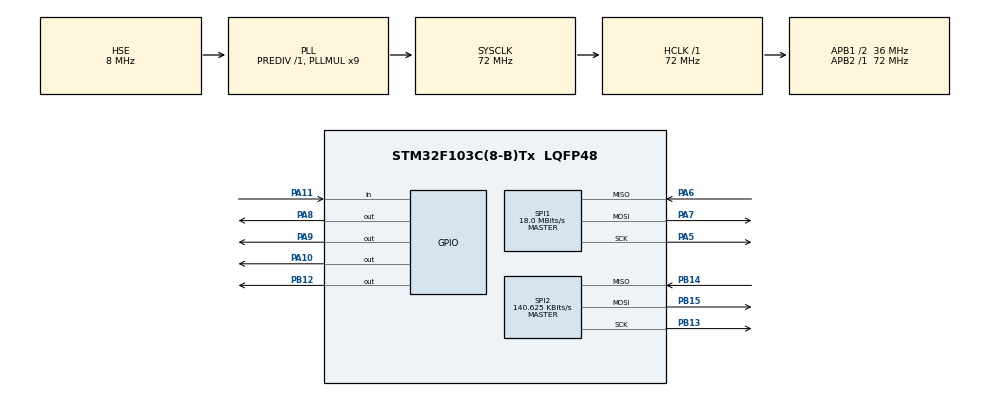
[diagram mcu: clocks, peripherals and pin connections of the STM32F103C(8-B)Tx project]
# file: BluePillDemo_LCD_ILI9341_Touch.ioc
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Dma.Request0=SPI1_TX
Dma.SPI1_TX.0.Direction=DMA_MEMORY_TO_PERIPH
Dma.SPI1_TX.0.Instance=DMA1_Channel3
Dma.SPI1_TX.0.MemDataAlignment=DMA_MDATAALIGN_BYTE
Dma.SPI1_TX.0.MemInc=DMA_MINC_ENABLE
Dma.SPI1_TX.0.Mode=DMA_NORMAL
Dma.SPI1_TX.0.PeriphDataAlignment=DMA_PDATAALIGN_BYTE
Dma.SPI1_TX.0.PeriphInc=DMA_PINC_DISABLE
Dma.SPI1_TX.0.Priority=DMA_PRIORITY_VERY_HIGH
Mcu.Family=STM32F1
Mcu.Name=STM32F103C(8-B)Tx
Mcu.Package=LQFP48
NVIC.DMA1_Channel3_IRQn=true\:0\:0\:false\:false\:true\:false\:true
NVIC.PriorityGroup=NVIC_PRIORITYGROUP_4
PA10.GPIO_Speed=GPIO_SPEED_FREQ_HIGH
PA10.PinState=GPIO_PIN_SET
PA10.Signal=GPIO_Output
PA11.Signal=GPIO_Input
PA13.Mode=Serial_Wire
PA13.Signal=SYS_JTMS-SWDIO
PA14.Mode=Serial_Wire
PA14.Signal=SYS_JTCK-SWCLK
PA5.Mode=Full_Duplex_Master
PA5.Signal=SPI1_SCK
PA6.Mode=Full_Duplex_Master
PA6.Signal=SPI1_MISO
PA7.Mode=Full_Duplex_Master
PA7.Signal=SPI1_MOSI
PA8.GPIO_Speed=GPIO_SPEED_FREQ_HIGH
PA8.Signal=GPIO_Output
PA9.GPIO_Speed=GPIO_SPEED_FREQ_HIGH
PA9.Signal=GPIO_Output
PB12.PinState=GPIO_PIN_SET
PB12.Signal=GPIO_Output
PB13.Mode=Full_Duplex_Master
PB13.Signal=SPI2_SCK
PB14.Mode=Full_Duplex_Master
PB14.Signal=SPI2_MISO
PB15.Mode=Full_Duplex_Master
PB15.Signal=SPI2_MOSI
PD0-OSC_IN.Mode=HSE-External-Oscillator
PD0-OSC_IN.Signal=RCC_OSC_IN
PD1-OSC_OUT.Mode=HSE-External-Oscillator
PD1-OSC_OUT.Signal=RCC_OSC_OUT
ProjectManager.HeapSize=0x200
ProjectManager.StackSize=0x400
ProjectManager.TargetToolchain=STM32CubeIDE
RCC.AHBFreq_Value=72000000
RCC.APB1CLKDivider=RCC_HCLK_DIV2
RCC.APB1Freq_Value=36000000
RCC.APB1TimFreq_Value=72000000
RCC.APB2Freq_Value=72000000
RCC.APB2TimFreq_Value=72000000
RCC.HCLKFreq_Value=72000000
RCC.PLLMUL=RCC_PLL_MUL9
RCC.PLLSourceVirtual=RCC_PLLSOURCE_HSE
RCC.SYSCLKFreq_VALUE=72000000
RCC.SYSCLKSource=RCC_SYSCLKSOURCE_PLLCLK
RCC.USBFreq_Value=72000000
SPI1.BaudRatePrescaler=SPI_BAUDRATEPRESCALER_4
SPI1.CLKPolarity=SPI_POLARITY_HIGH
SPI1.CalculateBaudRate=18.0 MBits/s
SPI1.Direction=SPI_DIRECTION_2LINES
SPI1.Mode=SPI_MODE_MASTER
SPI1.VirtualType=VM_MASTER
SPI2.BaudRatePrescaler=SPI_BAUDRATEPRESCALER_256
SPI2.CalculateBaudRate=140.625 KBits/s
SPI2.Direction=SPI_DIRECTION_2LINES
SPI2.Mode=SPI_MODE_MASTER
SPI2.VirtualType=VM_MASTER
board=custom

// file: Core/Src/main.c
/* USER CODE BEGIN Header */
/**
  ******************************************************************************
  * @file           : main.c
  * @brief          : Main program body
  ******************************************************************************
  * @attention
  *
  * <h2><center>&copy; Copyright (c) 2020 STMicroelectronics.
  * All rights reserved.</center></h2>
  *
  * This software component is licensed by ST under BSD 3-Clause license,
  * the "License"; You may not use this file except in compliance with the
  * License. You may obtain a copy of the License at:
  *                        opensource.org/licenses/BSD-3-Clause
  *
  ******************************************************************************
  */
/* USER CODE END Header */

#include "main.h"

/* USER CODE BEGIN Includes */
#include <stdio.h>
#include "graphics.h"
#include "touch.h"

/* USER CODE END Includes */

SPI_HandleTypeDef hspi1;
SPI_HandleTypeDef hspi2;
DMA_HandleTypeDef hdma_spi1_tx;

void SystemClock_Config(void);
static void MX_GPIO_Init(void);
static void MX_DMA_Init(void);
static void MX_SPI1_Init(void);
static void MX_SPI2_Init(void);

int main(void)
{
  /* USER CODE BEGIN 1 */
  int16_t x;
  int16_t y;

  /* USER CODE END 1 */

  /* MCU Configuration--------------------------------------------------------*/

  /* Reset of all peripherals, Initializes the Flash interface and the Systick. */
  HAL_Init();

  /* Configure the system clock */
  SystemClock_Config();

  /* Initialize all configured peripherals */
  MX_GPIO_Init();
  MX_DMA_Init();
  MX_SPI1_Init();
  MX_SPI2_Init();
  /* USER CODE BEGIN 2 */
  GraphicsInit();
  TouchCalibrate();
  GraphicsClear(BLUE);

  /* USER CODE END 2 */

  /* Infinite loop */
  while (1)
  {

    /* USER CODE BEGIN 3 */

	GraphicsFilledRectangle(50, 200, 50, 15, BLACK);
	if (TouchIsTouched())
	{
	  GraphicsLargeString(50, 200, "Down", YELLOW);
	}
	else
	{
	  GraphicsLargeString(50, 200, "Up", YELLOW);
	}

	if (TouchGetCalibratedPoint(&x, &y))
	{
		char buf[20];
		sprintf(buf, "%hd %hd", x, y);
		GraphicsFilledRectangle(0, 0, 120, 15, BLACK);
		GraphicsLargeString(0, 0, buf, YELLOW);
		GraphicsPixel(x, y, YELLOW);
	}
  }
  /* USER CODE END 3 */
}

void SystemClock_Config(void)
{
  RCC_OscInitTypeDef RCC_OscInitStruct = {0};
  RCC_ClkInitTypeDef RCC_ClkInitStruct = {0};

  /** Initializes the CPU, AHB and APB busses clocks
  */
  RCC_OscInitStruct.OscillatorType = RCC_OSCILLATORTYPE_HSE;
  RCC_OscInitStruct.HSEState = RCC_HSE_ON;
  RCC_OscInitStruct.HSEPredivValue = RCC_HSE_PREDIV_DIV1;
  RCC_OscInitStruct.HSIState = RCC_HSI_ON;
  RCC_OscInitStruct.PLL.PLLState = RCC_PLL_ON;
  RCC_OscInitStruct.PLL.PLLSource = RCC_PLLSOURCE_HSE;
  RCC_OscInitStruct.PLL.PLLMUL = RCC_PLL_MUL9;
  if (HAL_RCC_OscConfig(&RCC_OscInitStruct) != HAL_OK)
  {
    Error_Handler();
  }
  /** Initializes the CPU, AHB and APB busses clocks
  */
  RCC_ClkInitStruct.ClockType = RCC_CLOCKTYPE_HCLK|RCC_CLOCKTYPE_SYSCLK
                              |RCC_CLOCKTYPE_PCLK1|RCC_CLOCKTYPE_PCLK2;
  RCC_ClkInitStruct.SYSCLKSource = RCC_SYSCLKSOURCE_PLLCLK;
  RCC_ClkInitStruct.AHBCLKDivider = RCC_SYSCLK_DIV1;
  RCC_ClkInitStruct.APB1CLKDivider = RCC_HCLK_DIV2;
  RCC_ClkInitStruct.APB2CLKDivider = RCC_HCLK_DIV1;

  if (HAL_RCC_ClockConfig(&RCC_ClkInitStruct, FLASH_LATENCY_2) != HAL_OK)
  {
    Error_Handler();
  }
}

static void MX_SPI1_Init(void)
{

  /* SPI1 parameter configuration*/
  hspi1.Instance = SPI1;
  hspi1.Init.Mode = SPI_MODE_MASTER;
  hspi1.Init.Direction = SPI_DIRECTION_2LINES;
  hspi1.Init.DataSize = SPI_DATASIZE_8BIT;
  hspi1.Init.CLKPolarity = SPI_POLARITY_HIGH;
  hspi1.Init.CLKPhase = SPI_PHASE_1EDGE;
  hspi1.Init.NSS = SPI_NSS_SOFT;
  hspi1.Init.BaudRatePrescaler = SPI_BAUDRATEPRESCALER_4;
  hspi1.Init.FirstBit = SPI_FIRSTBIT_MSB;
  hspi1.Init.TIMode = SPI_TIMODE_DISABLE;
  hspi1.Init.CRCCalculation = SPI_CRCCALCULATION_DISABLE;
  hspi1.Init.CRCPolynomial = 10;
  if (HAL_SPI_Init(&hspi1) != HAL_OK)
  {
    Error_Handler();
  }

}

static void MX_SPI2_Init(void)
{

  /* SPI2 parameter configuration*/
  hspi2.Instance = SPI2;
  hspi2.Init.Mode = SPI_MODE_MASTER;
  hspi2.Init.Direction = SPI_DIRECTION_2LINES;
  hspi2.Init.DataSize = SPI_DATASIZE_8BIT;
  hspi2.Init.CLKPolarity = SPI_POLARITY_LOW;
  hspi2.Init.CLKPhase = SPI_PHASE_1EDGE;
  hspi2.Init.NSS = SPI_NSS_SOFT;
  hspi2.Init.BaudRatePrescaler = SPI_BAUDRATEPRESCALER_256;
  hspi2.Init.FirstBit = SPI_FIRSTBIT_MSB;
  hspi2.Init.TIMode = SPI_TIMODE_DISABLE;
  hspi2.Init.CRCCalculation = SPI_CRCCALCULATION_DISABLE;
  hspi2.Init.CRCPolynomial = 10;
  if (HAL_SPI_Init(&hspi2) != HAL_OK)
  {
    Error_Handler();
  }

}

static void MX_DMA_Init(void)
{

  /* DMA controller clock enable */
  __HAL_RCC_DMA1_CLK_ENABLE();

  /* DMA interrupt init */
  /* DMA1_Channel3_IRQn interrupt configuration */
  HAL_NVIC_SetPriority(DMA1_Channel3_IRQn, 0, 0);
  HAL_NVIC_EnableIRQ(DMA1_Channel3_IRQn);

}

static void MX_GPIO_Init(void)
{
  GPIO_InitTypeDef GPIO_InitStruct = {0};

  /* GPIO Ports Clock Enable */
  __HAL_RCC_GPIOD_CLK_ENABLE();
  __HAL_RCC_GPIOA_CLK_ENABLE();
  __HAL_RCC_GPIOB_CLK_ENABLE();

  /*Configure GPIO pin Output Level */
  HAL_GPIO_WritePin(GPIOB, GPIO_PIN_12, GPIO_PIN_SET);

  /*Configure GPIO pin Output Level */
  HAL_GPIO_WritePin(GPIOA, GPIO_PIN_8|GPIO_PIN_9, GPIO_PIN_RESET);

  /*Configure GPIO pin Output Level */
  HAL_GPIO_WritePin(GPIOA, GPIO_PIN_10, GPIO_PIN_SET);

  /*Configure GPIO pin : PB12 */
  GPIO_InitStruct.Pin = GPIO_PIN_12;
  GPIO_InitStruct.Mode = GPIO_MODE_OUTPUT_PP;
  GPIO_InitStruct.Pull = GPIO_NOPULL;
  GPIO_InitStruct.Speed = GPIO_SPEED_FREQ_LOW;
  HAL_GPIO_Init(GPIOB, &GPIO_InitStruct);

  /*Configure GPIO pins : PA8 PA9 PA10 */
  GPIO_InitStruct.Pin = GPIO_PIN_8|GPIO_PIN_9|GPIO_PIN_10;
  GPIO_InitStruct.Mode = GPIO_MODE_OUTPUT_PP;
  GPIO_InitStruct.Pull = GPIO_NOPULL;
  GPIO_InitStruct.Speed = GPIO_SPEED_FREQ_HIGH;
  HAL_GPIO_Init(GPIOA, &GPIO_InitStruct);

  /*Configure GPIO pin : PA11 */
  GPIO_InitStruct.Pin = GPIO_PIN_11;
  GPIO_InitStruct.Mode = GPIO_MODE_INPUT;
  GPIO_InitStruct.Pull = GPIO_NOPULL;
  HAL_GPIO_Init(GPIOA, &GPIO_InitStruct);

}

void Error_Handler(void)
{
}

/************************ (C) COPYRIGHT STMicroelectronics *****END OF FILE****/
